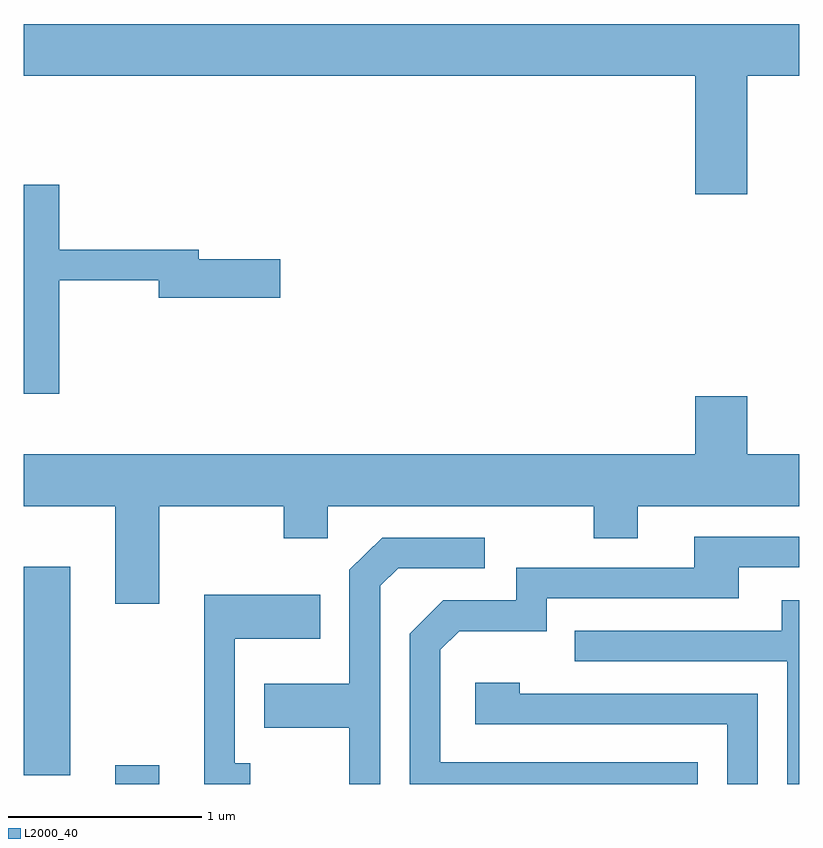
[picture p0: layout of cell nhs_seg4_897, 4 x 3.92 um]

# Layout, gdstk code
import gdstk
lib = gdstk.Library(unit=1e-6, precision=1e-09)
def R(c, l, rs):  # rectangles x0, y0, x1, y1
    for r in rs: c.add(gdstk.rectangle(r[:2], r[2:], *l))
def P(c, l, *ps):  # polygons
    for p in ps: c.add(gdstk.Polygon(p, *l))
L2000_40 = (2000, 40)

nhs_seg4_897 = lib.new_cell('nhs_seg4_897')
R(nhs_seg4_897, L2000_40, [(212.081,1279.982,212.309,1280.079), (211.611,1280.026,211.849,1281.104)])
P(nhs_seg4_897, L2000_40, [(215.344,1283.636),(215.611,1283.636),(215.611,1283.904),(211.611,1283.904),(211.611,1283.636),(215.076,1283.636),(215.076,1283.026),(215.344,1283.026)],
  [(211.794,1282.581),(212.306,1282.581),(212.306,1282.491),(212.934,1282.491),(212.934,1282.689),(212.514,1282.689),(212.514,1282.739),(211.794,1282.739),(211.794,1283.074),(211.611,1283.074),(211.611,1281.996),(211.794,1281.996)],
  [(212.309,1281.416),(212.951,1281.416),(212.951,1281.251),(213.179,1281.251),(213.179,1281.416),(214.551,1281.416),(214.551,1281.251),(214.779,1281.251),(214.779,1281.416),(215.611,1281.416),(215.611,1281.684),(215.344,1281.684),(215.344,1281.984),(215.076,1281.984),(215.076,1281.684),(211.611,1281.684),(211.611,1281.416),(212.081,1281.416),(212.081,1280.911),(212.309,1280.911)],
  [(215.089,1280.094),(213.759,1280.094),(213.759,1280.674),(213.857,1280.771),(214.309,1280.771),(214.309,1280.941),(215.299,1280.941),(215.299,1281.101),(215.611,1281.101),(215.611,1281.259),(215.071,1281.259),(215.071,1281.099),(214.151,1281.099),(214.151,1280.929),(213.774,1280.929),(213.601,1280.757),(213.601,1279.982),(215.089,1279.982)],
  [(213.449,1281.004),(213.542,1281.096),(213.988,1281.096),(213.988,1281.254),(213.459,1281.254),(213.291,1281.087),(213.291,1280.499),(212.851,1280.499),(212.851,1280.271),(213.291,1280.271),(213.291,1279.982),(213.449,1279.982)],
  [(212.778,1280.089),(212.699,1280.089),(212.699,1280.731),(213.139,1280.731),(213.139,1280.959),(212.541,1280.959),(212.541,1279.982),(212.778,1279.982)],
  [(215.611,1280.929),(215.521,1280.929),(215.521,1280.774),(214.453,1280.774),(214.453,1280.616),(215.551,1280.616),(215.551,1279.982),(215.611,1279.982)],
  [(215.399,1280.449),(214.169,1280.449),(214.169,1280.504),(213.941,1280.504),(213.941,1280.291),(215.241,1280.291),(215.241,1279.982),(215.399,1279.982)])

lib.write_gds('nhs_seg4_897.gds')
